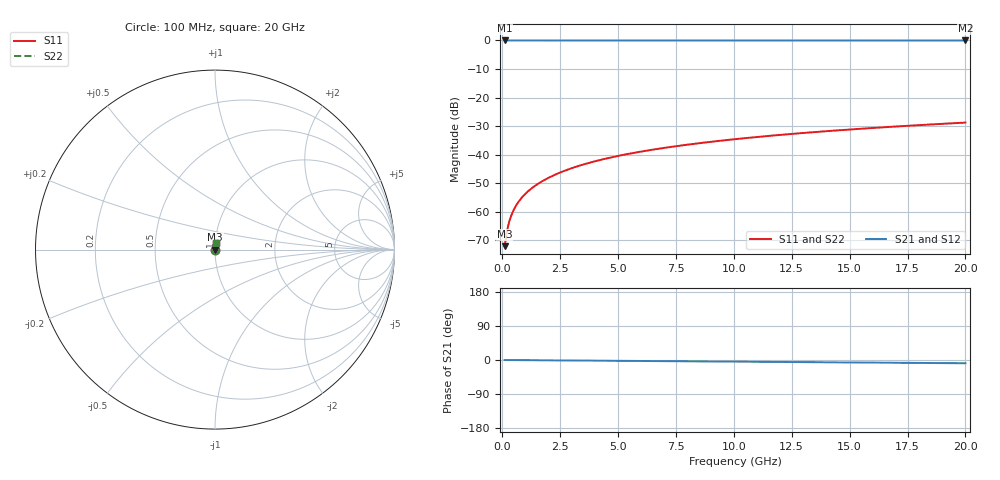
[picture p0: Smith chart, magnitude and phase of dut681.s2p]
! Touchstone file exported from HFSS 2026.1.0
!  File:  C:/ffzhzh/LocalFiles/Ansys_Project_Files/temp_train_TSV_681_1783027406_53980.aedt
!  Generated:  05:25:19 AM Jul  3, 2026
!  Design:  TSV
!  Project:  temp_train_TSV_681_1783027406_53980
! Variables:
!  h_bsmrdl = 2um
!  h_ox = 20um
!  h_rdl = 5um
!  h_sub = 79.26um
!  h_tmrdl = 5um
!  h_tsv = 79.26um
!  h_via = 3um
!  l_bsmrdl = 300um
!  l_sub = 421.46um
!  l_tmrdl = 200um
!  m_sub = 200um
!  pitch = 57.58um
!  r_tsv = 10.73um
!  s_tmrdl = 10um
!  w_bsmrdl = 18um
!  w_sub = 500um
!  w_tmrdl = 12um
!  x_tsv_center1 = 206um
!  x_tsv_center2 = 524um
!  x_tsv_center3 = 736um
!  x_tsv_center4 = 1054um
!  x_tsv_center5 = 1266um
!  x_tsv_center6 = 1584um
# GHz S MA R 50.000000
! Terminal data exported
! Port[1] = TSV1_1_T1
! Port[2] = TSV1_1_T2
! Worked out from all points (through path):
!   200 points, 100 MHz to 20 GHz, reference 50 ohm
!   highest |S21| = 0.00 dB at 100 MHz (marker M1); lowest = 0.0 dB at 20 GHz (marker M2)
!   group delay of S21, straight-line fit = 1.19 ps
!   lowest |S11| = -72.1 dB at 100 MHz (marker M3), VSWR 1.00, Z = 50 + j0.0222 ohm
!   |S11| at or under -10 dB: start of sweep to end of sweep
!   |S22| runs from -72.1 to -28.8 dB; largest |S21 - S12| = 3.3e-15
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0.1  0.0002483 63.4  0.9999 -0.0  0.9999 -0.0  0.0002483 63.4
! Gamma 0 0 0 0
! Port Impedance 50 0 50 0
0.2  0.0004583 74.5  0.9999 -0.1  0.9999 -0.1  0.0004583 74.5
0.3  0.0006716 78.0  0.9999 -0.1  0.9999 -0.1  0.0006716 78.0
0.4  0.0008817 79.5  0.9998 -0.2  0.9998 -0.2  0.0008817 79.5
0.5  0.001087 80.3  0.9998 -0.2  0.9998 -0.2  0.001087 80.3
0.6  0.001288 80.8  0.9998 -0.3  0.9998 -0.3  0.001288 80.8
0.7  0.001485 81.1  0.9998 -0.3  0.9998 -0.3  0.001485 81.1
0.9  0.001871 81.7  0.9997 -0.4  0.9997 -0.4  0.001871 81.7
1.1  0.002249 82.1  0.9997 -0.5  0.9997 -0.5  0.002249 82.1
1.3  0.002623 82.5  0.9997 -0.6  0.9997 -0.6  0.002623 82.5
1.6  0.003181 83.0  0.9996 -0.7  0.9996 -0.7  0.003181 83.0
1.9  0.003738 83.4  0.9996 -0.8  0.9996 -0.8  0.003738 83.4
2.6  0.005037 84.0  0.9996 -1.1  0.9996 -1.1  0.005037 84.0
3.5  0.006704 84.3  0.9995 -1.5  0.9995 -1.5  0.006704 84.3
4.2  0.007995 84.4  0.9994 -1.8  0.9994 -1.8  0.007995 84.4
5  0.009464 84.3  0.9994 -2.2  0.9994 -2.2  0.009464 84.3
6.8  0.01275 84.0  0.9992 -2.9  0.9992 -2.9  0.01275 84.0
8.3  0.01547 83.6  0.9991 -3.6  0.9991 -3.6  0.01547 83.6
10.1  0.01871 83.1  0.999 -4.4  0.999 -4.4  0.01871 83.1
13.4  0.02464 82.0  0.9987 -5.8  0.9987 -5.8  0.02464 82.0
16.7  0.03052 80.8  0.9985 -7.2  0.9985 -7.2  0.03052 80.8
20  0.03635 79.6  0.9982 -8.6  0.9982 -8.6  0.03635 79.6
